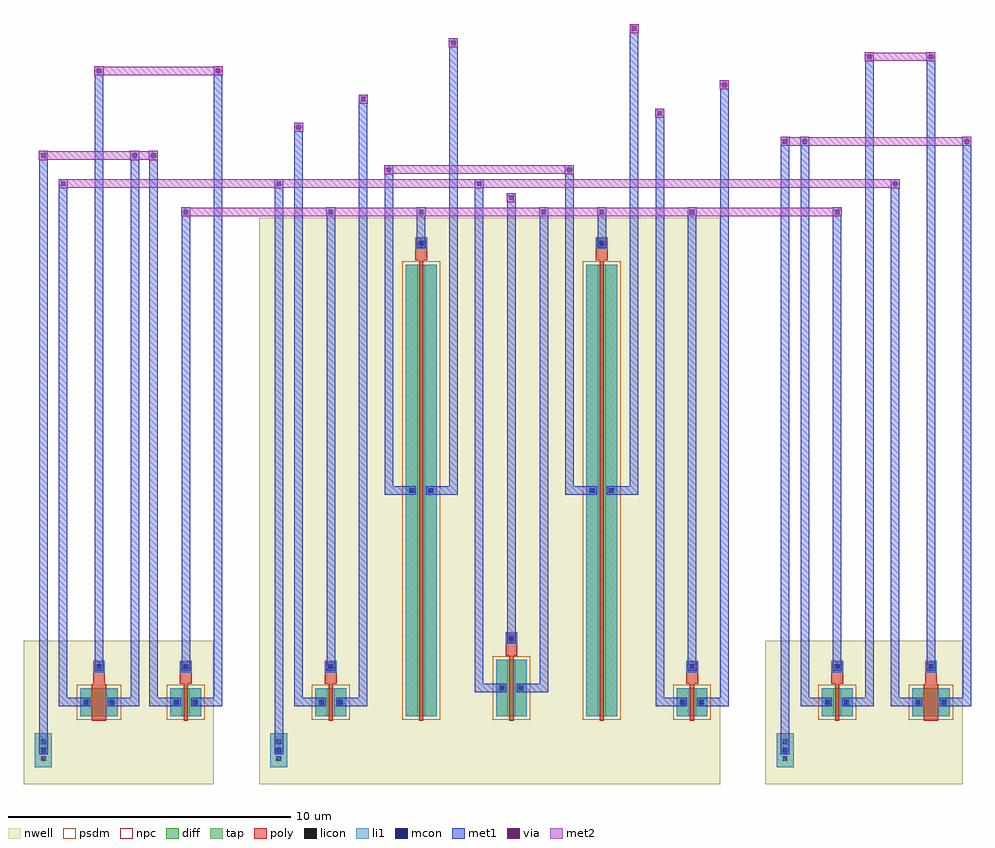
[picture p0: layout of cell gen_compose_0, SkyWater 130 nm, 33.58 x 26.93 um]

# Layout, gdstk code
import gdstk
lib = gdstk.Library(unit=1e-6, precision=1e-09)
def R(c, l, rs):  # rectangles x0, y0, x1, y1
    for r in rs: c.add(gdstk.rectangle(r[:2], r[2:], *l))
nwell = (64, 20)
diff = (65, 20)
tap = (65, 44)
poly = (66, 20)
licon = (66, 44)
li1 = (67, 20)
mcon = (67, 44)
met1 = (68, 20)
via = (68, 44)
met2 = (69, 20)
psdm = (94, 20)
npc = (95, 20)

sa_p__core = lib.new_cell('SA_P__core')
R(sa_p__core, nwell, [(-0.15,-0.15,1.49,2.27)])
R(sa_p__core, diff, [(0,0,1.34,1)])
R(sa_p__core, poly, [(0.42,-0.15,0.92,1), (0.42,1,0.92,1.15), (0.42,1,0.92,1.15), (0.46,1.15,0.88,1.97)])
R(sa_p__core, licon, [(0.125,0.415,0.295,0.585), (1.045,0.415,1.215,0.585), (0.585,1.675,0.755,1.845)])
R(sa_p__core, li1, [(0,0,0.42,1), (0.92,0,1.34,1), (0.46,1.55,0.88,1.97)])
R(sa_p__core, psdm, [(-0.125,-0.125,1.465,1.125)])
R(sa_p__core, npc, [(0.49,1.58,0.85,1.94)])

sa_p__sa_p = lib.new_cell('sa_p__SA_P')
sa_p__sa_p.add(gdstk.Reference(sa_p__core, (0,0)))

se_p__core = lib.new_cell('SE_P__core')
R(se_p__core, nwell, [(-0.15,-0.15,1.24,2.27)])
R(se_p__core, diff, [(0,0,1.09,1)])
R(se_p__core, poly, [(0.47,-0.15,0.62,1), (0.47,1,0.62,1.15), (0.47,1,0.62,1.15), (0.335,1.15,0.755,1.97)])
R(se_p__core, licon, [(0.125,0.415,0.295,0.585), (0.795,0.415,0.965,0.585), (0.46,1.675,0.63,1.845)])
R(se_p__core, li1, [(0,0,0.42,1), (0.67,0,1.09,1), (0.335,1.55,0.755,1.97)])
R(se_p__core, psdm, [(-0.125,-0.125,1.215,1.125)])
R(se_p__core, npc, [(0.365,1.58,0.725,1.94)])

se_p__se_p = lib.new_cell('se_p__SE_P')
se_p__se_p.add(gdstk.Reference(se_p__core, (0,0)))

scp_p__core = lib.new_cell('SCP_P__core')
R(scp_p__core, nwell, [(-0.15,-0.15,1.24,2.27)])
R(scp_p__core, diff, [(0,0,1.09,1)])
R(scp_p__core, poly, [(0.47,-0.15,0.62,1), (0.47,1,0.62,1.15), (0.47,1,0.62,1.15), (0.335,1.15,0.755,1.97)])
R(scp_p__core, licon, [(0.125,0.415,0.295,0.585), (0.795,0.415,0.965,0.585), (0.46,1.675,0.63,1.845)])
R(scp_p__core, li1, [(0,0,0.42,1), (0.67,0,1.09,1), (0.335,1.55,0.755,1.97)])
R(scp_p__core, psdm, [(-0.125,-0.125,1.215,1.125)])
R(scp_p__core, npc, [(0.365,1.58,0.725,1.94)])

scp_p__scp_p = lib.new_cell('scp_p__SCP_P')
scp_p__scp_p.add(gdstk.Reference(scp_p__core, (0,0)))

cmswp_p__core = lib.new_cell('CMSWP_P__core')
R(cmswp_p__core, nwell, [(-0.15,-0.15,1.24,17.27)])
R(cmswp_p__core, diff, [(0,0,1.09,16)])
R(cmswp_p__core, poly, [(0.47,-0.15,0.62,16), (0.47,16,0.62,16.15), (0.47,16,0.62,16.15), (0.335,16.15,0.755,16.97)])
R(cmswp_p__core, licon, [(0.125,7.915,0.295,8.085), (0.795,7.915,0.965,8.085), (0.46,16.675,0.63,16.845)])
R(cmswp_p__core, li1, [(0,0,0.42,16), (0.67,0,1.09,16), (0.335,16.55,0.755,16.97)])
R(cmswp_p__core, psdm, [(-0.125,-0.125,1.215,16.125)])
R(cmswp_p__core, npc, [(0.365,16.58,0.725,16.94)])

cmswp_p__cmswp_p = lib.new_cell('cmswp_p__CMSWP_P')
cmswp_p__cmswp_p.add(gdstk.Reference(cmswp_p__core, (0,0)))

invp__core = lib.new_cell('INVP__core')
R(invp__core, nwell, [(-0.15,-0.15,1.24,3.27)])
R(invp__core, diff, [(0,0,1.09,2)])
R(invp__core, poly, [(0.47,-0.15,0.62,2), (0.47,2,0.62,2.15), (0.47,2,0.62,2.15), (0.335,2.15,0.755,2.97)])
R(invp__core, licon, [(0.125,0.915,0.295,1.085), (0.795,0.915,0.965,1.085), (0.46,2.675,0.63,2.845)])
R(invp__core, li1, [(0,0,0.42,2), (0.67,0,1.09,2), (0.335,2.55,0.755,2.97)])
R(invp__core, psdm, [(-0.125,-0.125,1.215,2.125)])
R(invp__core, npc, [(0.365,2.58,0.725,2.94)])

invp__invp = lib.new_cell('invp__INVP')
invp__invp.add(gdstk.Reference(invp__core, (0,0)))

cmswp_n__core = lib.new_cell('CMSWP_N__core')
R(cmswp_n__core, nwell, [(-0.15,-0.15,1.24,17.27)])
R(cmswp_n__core, diff, [(0,0,1.09,16)])
R(cmswp_n__core, poly, [(0.47,-0.15,0.62,16), (0.47,16,0.62,16.15), (0.47,16,0.62,16.15), (0.335,16.15,0.755,16.97)])
R(cmswp_n__core, licon, [(0.125,7.915,0.295,8.085), (0.795,7.915,0.965,8.085), (0.46,16.675,0.63,16.845)])
R(cmswp_n__core, li1, [(0,0,0.42,16), (0.67,0,1.09,16), (0.335,16.55,0.755,16.97)])
R(cmswp_n__core, psdm, [(-0.125,-0.125,1.215,16.125)])
R(cmswp_n__core, npc, [(0.365,16.58,0.725,16.94)])

cmswp_n__cmswp_n = lib.new_cell('cmswp_n__CMSWP_N')
cmswp_n__cmswp_n.add(gdstk.Reference(cmswp_n__core, (0,0)))

scp_n__core = lib.new_cell('SCP_N__core')
R(scp_n__core, nwell, [(-0.15,-0.15,1.24,2.27)])
R(scp_n__core, diff, [(0,0,1.09,1)])
R(scp_n__core, poly, [(0.47,-0.15,0.62,1), (0.47,1,0.62,1.15), (0.47,1,0.62,1.15), (0.335,1.15,0.755,1.97)])
R(scp_n__core, licon, [(0.125,0.415,0.295,0.585), (0.795,0.415,0.965,0.585), (0.46,1.675,0.63,1.845)])
R(scp_n__core, li1, [(0,0,0.42,1), (0.67,0,1.09,1), (0.335,1.55,0.755,1.97)])
R(scp_n__core, psdm, [(-0.125,-0.125,1.215,1.125)])
R(scp_n__core, npc, [(0.365,1.58,0.725,1.94)])

scp_n__scp_n = lib.new_cell('scp_n__SCP_N')
scp_n__scp_n.add(gdstk.Reference(scp_n__core, (0,0)))

se_n__core = lib.new_cell('SE_N__core')
R(se_n__core, nwell, [(-0.15,-0.15,1.24,2.27)])
R(se_n__core, diff, [(0,0,1.09,1)])
R(se_n__core, poly, [(0.47,-0.15,0.62,1), (0.47,1,0.62,1.15), (0.47,1,0.62,1.15), (0.335,1.15,0.755,1.97)])
R(se_n__core, licon, [(0.125,0.415,0.295,0.585), (0.795,0.415,0.965,0.585), (0.46,1.675,0.63,1.845)])
R(se_n__core, li1, [(0,0,0.42,1), (0.67,0,1.09,1), (0.335,1.55,0.755,1.97)])
R(se_n__core, psdm, [(-0.125,-0.125,1.215,1.125)])
R(se_n__core, npc, [(0.365,1.58,0.725,1.94)])

se_n__se_n = lib.new_cell('se_n__SE_N')
se_n__se_n.add(gdstk.Reference(se_n__core, (0,0)))

sa_n__core = lib.new_cell('SA_N__core')
R(sa_n__core, nwell, [(-0.15,-0.15,1.49,2.27)])
R(sa_n__core, diff, [(0,0,1.34,1)])
R(sa_n__core, poly, [(0.42,-0.15,0.92,1), (0.42,1,0.92,1.15), (0.42,1,0.92,1.15), (0.46,1.15,0.88,1.97)])
R(sa_n__core, licon, [(0.125,0.415,0.295,0.585), (1.045,0.415,1.215,0.585), (0.585,1.675,0.755,1.845)])
R(sa_n__core, li1, [(0,0,0.42,1), (0.92,0,1.34,1), (0.46,1.55,0.88,1.97)])
R(sa_n__core, psdm, [(-0.125,-0.125,1.465,1.125)])
R(sa_n__core, npc, [(0.49,1.58,0.85,1.94)])

sa_n__sa_n = lib.new_cell('sa_n__SA_N')
sa_n__sa_n.add(gdstk.Reference(sa_n__core, (0,0)))

route__route = lib.new_cell('route__ROUTE')
R(route__route, nwell, [(0,-2.4,6.74,2.67), (8.34,-2.4,24.68,17.67), (26.28,-2.4,33.27,2.67)])
R(route__route, tap, [(0.4,-1.8,1,-0.6), (8.74,-1.8,9.34,-0.6), (26.68,-1.8,27.28,-0.6)])
R(route__route, licon, [(0.615,-1.585,0.785,-1.415), (8.955,-1.585,9.125,-1.415), (26.895,-1.585,27.065,-1.415), (0.615,-0.985,0.785,-0.815), (8.955,-0.985,9.125,-0.815), (26.895,-0.985,27.065,-0.815)])
R(route__route, li1, [(0.4,-1.8,1,-0.6), (8.74,-1.8,9.34,-0.6), (26.68,-1.8,27.28,-0.6)])
R(route__route, mcon, [(0.615,-1.285,0.785,-1.115), (8.955,-1.285,9.125,-1.115), (26.895,-1.285,27.065,-1.115), (2.125,0.415,2.295,0.585), (3.045,0.415,3.215,0.585), (5.325,0.415,5.495,0.585), (5.995,0.415,6.165,0.585), (10.465,0.415,10.635,0.585), (11.135,0.415,11.305,0.585), (23.265,0.415,23.435,0.585), (23.935,0.415,24.105,0.585), (28.405,0.415,28.575,0.585), (29.075,0.415,29.245,0.585), (31.605,0.415,31.775,0.585), (32.525,0.415,32.695,0.585), (16.865,0.915,17.035,1.085), (17.535,0.915,17.705,1.085), (2.585,1.675,2.755,1.845), (5.66,1.675,5.83,1.845), (10.8,1.675,10.97,1.845), (23.6,1.675,23.77,1.845), (28.74,1.675,28.91,1.845), (32.065,1.675,32.235,1.845), (17.2,2.675,17.37,2.845), (13.665,7.915,13.835,8.085), (14.335,7.915,14.505,8.085), (20.065,7.915,20.235,8.085), (20.735,7.915,20.905,8.085), (14,16.675,14.17,16.845), (20.4,16.675,20.57,16.845)])
R(route__route, met1, [(0.55,-1.35,0.85,-1.05), (0.55,-1.35,0.85,20.02), (8.89,-1.35,9.19,-1.05), (8.89,-1.35,9.19,19.02), (26.83,-1.35,27.13,-1.05), (26.83,-1.35,27.13,20.52), (1.25,0.35,2.36,0.65), (1.25,0.35,1.55,19.02), (2.98,0.35,4.09,0.65), (3.79,0.35,4.09,20.02), (4.45,0.35,5.56,0.65), (4.45,0.35,4.75,20.02), (5.93,0.35,7.04,0.65), (6.74,0.35,7.04,23.02), (9.59,0.35,10.7,0.65), (9.59,0.35,9.89,21.02), (11.07,0.35,12.18,0.65), (11.88,0.35,12.18,22.02), (22.39,0.35,23.5,0.65), (22.39,0.35,22.69,21.52), (23.87,0.35,24.98,0.65), (24.68,0.35,24.98,22.52), (27.53,0.35,28.64,0.65), (27.53,0.35,27.83,20.52), (29.01,0.35,30.12,0.65), (29.82,0.35,30.12,23.52), (30.73,0.35,31.84,0.65), (30.73,0.35,31.03,19.02), (32.46,0.35,33.57,0.65), (33.27,0.35,33.57,20.52), (15.99,0.85,17.1,1.15), (15.99,0.85,16.29,19.02), (17.47,0.85,18.58,1.15), (18.28,0.85,18.58,18.02), (2.52,1.61,2.82,1.91), (2.52,1.61,2.82,23.02), (5.595,1.61,5.895,1.91), (5.595,1.61,5.895,18.02), (10.735,1.61,11.035,1.91), (10.735,1.61,11.035,18.02), (23.535,1.61,23.835,1.91), (23.535,1.61,23.835,18.02), (28.675,1.61,28.975,1.91), (28.675,1.61,28.975,18.02), (32,1.61,32.3,1.91), (32,1.61,32.3,23.52), (17.135,2.61,17.435,2.91), (17.135,2.61,17.435,18.52), (12.79,7.85,13.9,8.15), (12.79,7.85,13.09,19.52), (14.27,7.85,15.38,8.15), (15.08,7.85,15.38,24.02), (19.19,7.85,20.3,8.15), (19.19,7.85,19.49,19.52), (20.67,7.85,21.78,8.15), (21.48,7.85,21.78,24.52), (13.935,16.61,14.235,16.91), (13.935,16.61,14.235,18.02), (20.335,16.61,20.635,16.91), (20.335,16.61,20.635,18.02), (5.585,17.71,5.905,18.03), (10.725,17.71,11.045,18.03), (13.925,17.71,14.245,18.03), (18.27,17.71,18.59,18.03), (20.325,17.71,20.645,18.03), (23.525,17.71,23.845,18.03), (28.665,17.71,28.985,18.03), (17.125,18.21,17.445,18.53), (1.24,18.71,1.56,19.03), (8.88,18.71,9.2,19.03), (15.98,18.71,16.3,19.03), (30.72,18.71,31.04,19.03), (12.78,19.21,13.1,19.53), (19.18,19.21,19.5,19.53), (0.54,19.71,0.86,20.03), (3.78,19.71,4.1,20.03), (4.44,19.71,4.76,20.03), (26.82,20.21,27.14,20.53), (27.52,20.21,27.84,20.53), (33.26,20.21,33.58,20.53), (9.58,20.71,9.9,21.03), (22.38,21.21,22.7,21.53), (11.87,21.71,12.19,22.03), (24.67,22.21,24.99,22.53), (2.51,22.71,2.83,23.03), (6.73,22.71,7.05,23.03), (29.81,23.21,30.13,23.53), (31.99,23.21,32.31,23.53), (15.07,23.71,15.39,24.03), (21.47,24.21,21.79,24.53)])
R(route__route, via, [(5.67,17.795,5.82,17.945), (10.81,17.795,10.96,17.945), (14.01,17.795,14.16,17.945), (18.355,17.795,18.505,17.945), (20.41,17.795,20.56,17.945), (23.61,17.795,23.76,17.945), (28.75,17.795,28.9,17.945), (17.21,18.295,17.36,18.445), (1.325,18.795,1.475,18.945), (8.965,18.795,9.115,18.945), (16.065,18.795,16.215,18.945), (30.805,18.795,30.955,18.945), (12.865,19.295,13.015,19.445), (19.265,19.295,19.415,19.445), (0.625,19.795,0.775,19.945), (3.865,19.795,4.015,19.945), (4.525,19.795,4.675,19.945), (26.905,20.295,27.055,20.445), (27.605,20.295,27.755,20.445), (33.345,20.295,33.495,20.445), (9.665,20.795,9.815,20.945), (22.465,21.295,22.615,21.445), (11.955,21.795,12.105,21.945), (24.755,22.295,24.905,22.445), (2.595,22.795,2.745,22.945), (6.815,22.795,6.965,22.945), (29.895,23.295,30.045,23.445), (32.075,23.295,32.225,23.445), (15.155,23.795,15.305,23.945), (21.555,24.295,21.705,24.445)])
R(route__route, met2, [(5.585,17.71,5.905,18.03), (10.725,17.71,11.045,18.03), (13.925,17.71,14.245,18.03), (18.27,17.71,18.59,18.03), (20.325,17.71,20.645,18.03), (23.525,17.71,23.845,18.03), (28.665,17.71,28.985,18.03), (5.595,17.72,28.975,18.02), (17.125,18.21,17.445,18.53), (17.135,18.22,17.435,18.52), (1.24,18.71,1.56,19.03), (8.88,18.71,9.2,19.03), (15.98,18.71,16.3,19.03), (30.72,18.71,31.04,19.03), (1.25,18.72,31.03,19.02), (12.78,19.21,13.1,19.53), (19.18,19.21,19.5,19.53), (12.79,19.22,19.49,19.52), (0.54,19.71,0.86,20.03), (3.78,19.71,4.1,20.03), (4.44,19.71,4.76,20.03), (0.55,19.72,4.75,20.02), (26.82,20.21,27.14,20.53), (27.52,20.21,27.84,20.53), (33.26,20.21,33.58,20.53), (26.83,20.22,33.57,20.52), (9.58,20.71,9.9,21.03), (9.59,20.72,9.89,21.02), (22.38,21.21,22.7,21.53), (22.39,21.22,22.69,21.52), (11.87,21.71,12.19,22.03), (11.88,21.72,12.18,22.02), (24.67,22.21,24.99,22.53), (24.68,22.22,24.98,22.52), (2.51,22.71,2.83,23.03), (6.73,22.71,7.05,23.03), (2.52,22.72,7.04,23.02), (29.81,23.21,30.13,23.53), (31.99,23.21,32.31,23.53), (29.82,23.22,32.3,23.52), (15.07,23.71,15.39,24.03), (15.08,23.72,15.38,24.02), (21.47,24.21,21.79,24.53), (21.48,24.22,21.78,24.52)])
route__route.add(gdstk.Label('SAMPLEB', (5.745,17.87), layer=69, texttype=5))
route__route.add(gdstk.Label('SAMPLE', (17.285,18.37), layer=69, texttype=5))
route__route.add(gdstk.Label('VDD', (1.4,18.87), layer=69, texttype=5))
route__route.add(gdstk.Label('VCM', (12.94,19.37), layer=69, texttype=5))
route__route.add(gdstk.Label('BOOST_P', (0.7,19.87), layer=69, texttype=5))
route__route.add(gdstk.Label('BOOST_N', (26.98,20.37), layer=69, texttype=5))
route__route.add(gdstk.Label('VINP', (9.74,20.87), layer=69, texttype=5))
route__route.add(gdstk.Label('VINN', (22.54,21.37), layer=69, texttype=5))
route__route.add(gdstk.Label('BSBOT_P', (12.03,21.87), layer=69, texttype=5))
route__route.add(gdstk.Label('BSBOT_N', (24.83,22.37), layer=69, texttype=5))
route__route.add(gdstk.Label('G_P', (2.67,22.87), layer=69, texttype=5))
route__route.add(gdstk.Label('G_N', (29.97,23.37), layer=69, texttype=5))
route__route.add(gdstk.Label('BPREF_P', (15.23,23.87), layer=69, texttype=5))
route__route.add(gdstk.Label('BPREF_N', (21.63,24.37), layer=69, texttype=5))

gen_compose_0 = lib.new_cell('gen_compose_0')
gen_compose_0.add(gdstk.Reference(sa_p__sa_p, (2,0)))
gen_compose_0.add(gdstk.Reference(se_p__se_p, (5.2,0)))
gen_compose_0.add(gdstk.Reference(scp_p__scp_p, (10.34,0)))
gen_compose_0.add(gdstk.Reference(cmswp_p__cmswp_p, (13.54,0)))
gen_compose_0.add(gdstk.Reference(invp__invp, (16.74,0)))
gen_compose_0.add(gdstk.Reference(cmswp_n__cmswp_n, (19.94,0)))
gen_compose_0.add(gdstk.Reference(scp_n__scp_n, (23.14,0)))
gen_compose_0.add(gdstk.Reference(se_n__se_n, (28.28,0)))
gen_compose_0.add(gdstk.Reference(sa_n__sa_n, (31.48,0)))
gen_compose_0.add(gdstk.Reference(route__route, (0,0)))

lib.write_gds('gen_compose_0.gds')
